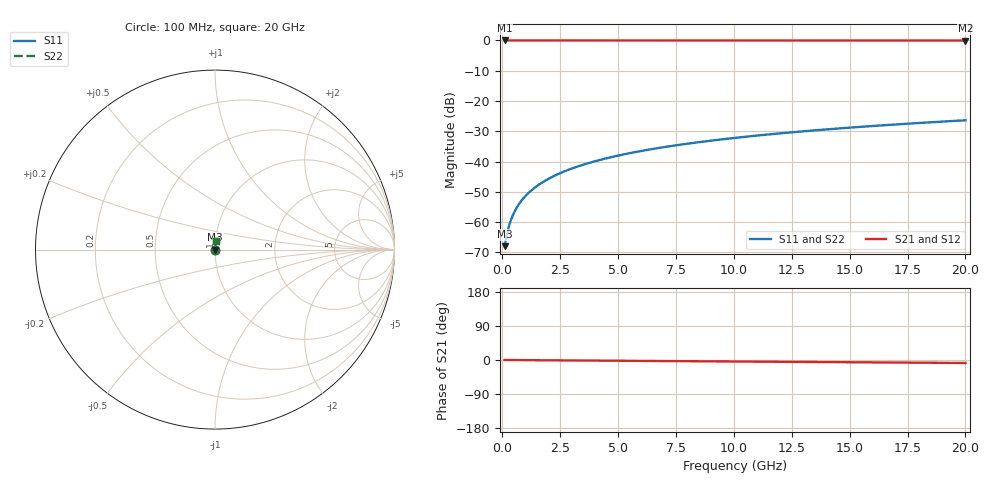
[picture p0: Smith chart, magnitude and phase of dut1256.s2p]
! Touchstone file exported from HFSS 2026.1.0
!  File:  C:/ffzhzh/LocalFiles/Ansys_Project_Files/temp_train_TSV_1256_1783193793_18472.aedt
!  Generated:  03:38:16 AM Jul  5, 2026
!  Design:  TSV
!  Project:  temp_train_TSV_1256_1783193793_18472
! Variables:
!  h_bsmrdl = 2um
!  h_ox = 20um
!  h_rdl = 5um
!  h_sub = 72.54um
!  h_tmrdl = 5um
!  h_tsv = 72.54um
!  h_via = 3um
!  l_bsmrdl = 300um
!  l_sub = 411.5um
!  l_tmrdl = 200um
!  m_sub = 200um
!  pitch = 38.32um
!  r_tsv = 5.75um
!  s_tmrdl = 10um
!  w_bsmrdl = 18um
!  w_sub = 500um
!  w_tmrdl = 12um
!  x_tsv_center1 = 206um
!  x_tsv_center2 = 524um
!  x_tsv_center3 = 736um
!  x_tsv_center4 = 1054um
!  x_tsv_center5 = 1266um
!  x_tsv_center6 = 1584um
# GHz S MA R 50.000000
! Terminal data exported
! Port[1] = TSV1_1_T1
! Port[2] = TSV1_1_T2
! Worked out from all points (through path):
!   200 points, 100 MHz to 20 GHz, reference 50 ohm
!   highest |S21| = 0.00 dB at 100 MHz (marker M1); lowest = 0.0 dB at 20 GHz (marker M2)
!   group delay of S21, straight-line fit = 1.09 ps
!   lowest |S11| = -67.9 dB at 100 MHz (marker M3), VSWR 1.00, Z = 50 + j0.0283 ohm
!   |S11| at or under -10 dB: start of sweep to end of sweep
!   |S22| runs from -67.9 to -26.4 dB; largest |S21 - S12| = 4.4e-15
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0.1  0.0004021 44.7  0.9997 -0.0  0.9997 -0.0  0.0004021 44.7
! Gamma 0 0 0 0
! Port Impedance 50 0 50 0
0.2  0.0006363 62.2  0.9997 -0.1  0.9997 -0.1  0.0006363 62.2
0.3  0.0008956 69.6  0.9997 -0.1  0.9997 -0.1  0.0008956 69.6
0.4  0.00116 73.4  0.9997 -0.2  0.9997 -0.2  0.00116 73.4
0.5  0.001422 75.6  0.9997 -0.2  0.9997 -0.2  0.001422 75.6
0.6  0.001683 77.1  0.9996 -0.2  0.9996 -0.2  0.001683 77.1
0.7  0.001941 78.2  0.9996 -0.3  0.9996 -0.3  0.001941 78.2
0.8  0.002197 79.1  0.9996 -0.3  0.9996 -0.3  0.002197 79.1
1  0.002704 80.3  0.9996 -0.4  0.9996 -0.4  0.002704 80.3
1.4  0.003709 81.8  0.9995 -0.6  0.9995 -0.6  0.003709 81.8
1.7  0.004459 82.5  0.9995 -0.7  0.9995 -0.7  0.004459 82.5
2  0.005208 83.0  0.9994 -0.8  0.9994 -0.8  0.005208 83.0
2.7  0.006948 83.6  0.9993 -1.1  0.9993 -1.1  0.006948 83.6
3.5  0.008921 83.9  0.9992 -1.4  0.9992 -1.4  0.008921 83.9
4.2  0.01063 84.0  0.9991 -1.7  0.9991 -1.7  0.01063 84.0
5  0.01258 84.0  0.999 -2.0  0.999 -2.0  0.01258 84.0
6.8  0.01691 83.8  0.9988 -2.7  0.9988 -2.7  0.01691 83.8
8.3  0.0205 83.5  0.9986 -3.3  0.9986 -3.3  0.0205 83.5
10.1  0.02478 83.1  0.9984 -4.0  0.9984 -4.0  0.02478 83.1
13.4  0.03261 82.2  0.998 -5.3  0.998 -5.3  0.03261 82.2
16.7  0.04039 81.1  0.9976 -6.6  0.9976 -6.6  0.04039 81.1
20  0.0481 80.0  0.9971 -7.9  0.9971 -7.9  0.0481 80.0
